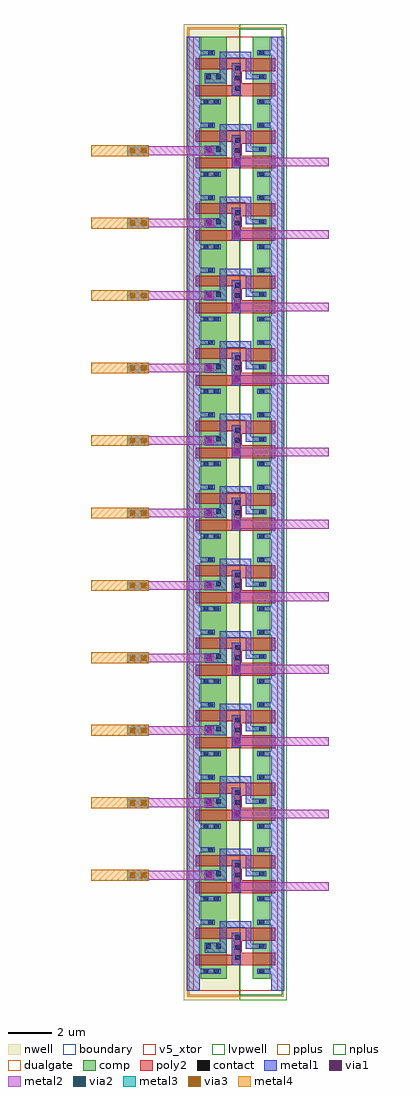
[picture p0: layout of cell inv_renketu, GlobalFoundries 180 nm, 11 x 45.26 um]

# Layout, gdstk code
from math import pi, radians
import gdstk
lib = gdstk.Library(unit=1e-6, precision=1e-09)
def R(c, l, rs):  # rectangles x0, y0, x1, y1
    for r in rs: c.add(gdstk.rectangle(r[:2], r[2:], *l))
def A(c, l, x, y, w, h, nx, ny, dx, dy):  # array of equal rectangles
    R(c, l, [(x+i*dx, y+j*dy, x+i*dx+w, y+j*dy+h) for i in range(nx) for j in range(ny)])
def P(c, l, *ps):  # polygons
    for p in ps: c.add(gdstk.Polygon(p, *l))
boundary = (0, 0)
nwell = (21, 0)
comp = (22, 0)
poly2 = (30, 0)
pplus = (31, 0)
nplus = (32, 0)
contact = (33, 0)
metal1 = (34, 0)
via1 = (35, 0)
metal2 = (36, 0)
via2 = (38, 0)
via3 = (40, 0)
metal3 = (42, 0)
metal4 = (46, 0)
dualgate = (55, 0)
v5_xtor = (112, 1)
lvpwell = (204, 0)

inv_1 = lib.new_cell('inv$1')
R(inv_1, boundary, [(0,0,3.36,3.92)])
R(inv_1, nwell, [(-0.43,1.76,3.79,4.35)])
R(inv_1, comp, [(0,0.34,3.36,1.16), (0,2.36,3.36,3.58)])
P(inv_1, poly2, [(0.62,0.12),(0.62,3.8),(1.12,3.8),(1.12,2.035),(1.87,2.035),(1.87,3.8),(2.37,3.8),(2.37,0.12),(1.77,0.12),(1.77,1.675),(1.22,1.675),(1.22,0.12)])
R(inv_1, pplus, [(-0.2,1.76,3.56,4.12)])
R(inv_1, nplus, [(-0.2,-0.2,3.56,1.76)])
A(inv_1, contact, 0.875, 1.745, 0.22, 0.22, 3, 1, 0.47, 0)
R(inv_1, contact, [(0.25,0.63,0.47,0.85), (1.4,0.63,1.62,0.85), (2.52,0.63,2.74,0.85), (1.4,2.63,1.62,2.85), (0.25,2.74,0.47,2.96), (2.52,3.01,2.74,3.23), (1.4,3.1,1.62,3.32), (0.25,3.21,0.47,3.43)])
R(inv_1, metal1, [(0.63,1.705,2.15,2.12)])
P(inv_1, metal1, [(1.395,0.53),(1.395,1.475),(2.38,1.475),(2.38,2.36),(1.22,2.36),(1.22,3.39),(1.67,3.39),(1.67,2.68),(2.68,2.68),(2.68,1.22),(1.625,1.22),(1.625,0.53)],
  [(0,-0.3),(0,0.3),(0.245,0.3),(0.245,0.95),(0.475,0.95),(0.475,0.3),(2.515,0.3),(2.515,0.95),(2.745,0.95),(2.745,0.3),(3.36,0.3),(3.36,-0.3)],
  [(0.245,2.64),(0.245,3.62),(0,3.62),(0,4.22),(3.36,4.22),(3.36,3.62),(2.745,3.62),(2.745,2.93),(2.515,2.93),(2.515,3.62),(0.475,3.62),(0.475,2.64)])
R(inv_1, dualgate, [(-0.28,-0.28,3.64,4.2)])
R(inv_1, v5_xtor, [(0,0,3.36,3.92)])
R(inv_1, lvpwell, [(-0.43,-0.43,3.79,1.76)])
inv_1.add(gdstk.Label('VSS', (1.68,-0.025), layer=34, texttype=10))
inv_1.add(gdstk.Label('ZN', (1.96,2.52), layer=34, texttype=10))
inv_1.add(gdstk.Label('I', (1.4,1.96), layer=34, texttype=10))
inv_1.add(gdstk.Label('VDD', (1.68,3.93), layer=34, texttype=10))
inv_1.add(gdstk.Label('& Vendor GLOBALFOUNDRIES', (0,2), layer=63, texttype=63))
inv_1.add(gdstk.Label('& Product GF018hv5v_mcu_sc7', (0,1.5), layer=63, texttype=63))
inv_1.add(gdstk.Label('& Version 2015q2v1', (0,1), layer=63, texttype=63))
inv_1.add(gdstk.Label('& Metric 1.00', (0,0.5), layer=63, texttype=63))
inv_1.add(gdstk.Label('VNW', (0.345,3.92), layer=21, texttype=10))
inv_1.add(gdstk.Label('VPW', (0.34,-0.085), layer=204, texttype=10))

dummy = lib.new_cell('dummy')
R(dummy, boundary, [(0.745,-0.105,4.655,3.815)])
R(dummy, nwell, [(0.315,1.655,5.255,4.245)])
R(dummy, comp, [(1.295,0.235,4.655,1.055), (1.295,2.255,4.655,3.475)])
P(dummy, poly2, [(1.915,0.015),(1.915,3.695),(2.415,3.695),(2.415,1.93),(3.165,1.93),(3.165,3.695),(3.665,3.695),(3.665,0.015),(3.065,0.015),(3.065,1.57),(2.515,1.57),(2.515,0.015)])
R(dummy, pplus, [(0.545,1.655,5.025,4.015)])
R(dummy, nplus, [(0.545,-0.305,5.025,1.655)])
A(dummy, contact, 2.17, 1.64, 0.22, 0.22, 3, 1, 0.47, 0)
R(dummy, contact, [(1.545,0.525,1.765,0.745), (2.695,0.525,2.915,0.745), (3.815,0.525,4.035,0.745), (2.695,2.525,2.915,2.745), (1.545,2.635,1.765,2.855), (3.815,2.905,4.035,3.125), (2.695,2.995,2.915,3.215), (1.545,3.105,1.765,3.325)])
R(dummy, metal1, [(1.925,1.6,3.445,2.015)])
P(dummy, metal1, [(1.54,2.535),(1.54,3.515),(0.745,3.515),(0.745,4.115),(4.655,4.115),(4.655,3.515),(4.04,3.515),(4.04,2.825),(3.81,2.825),(3.81,3.515),(1.77,3.515),(1.77,2.535)],
  [(0.745,-0.405),(0.745,0.195),(1.54,0.195),(1.54,0.845),(1.77,0.845),(1.77,0.195),(3.81,0.195),(3.81,0.845),(4.04,0.845),(4.04,0.195),(4.655,0.195),(4.655,-0.405)],
  [(2.69,0.425),(2.69,1.37),(3.675,1.37),(3.675,2.255),(2.515,2.255),(2.515,3.285),(2.965,3.285),(2.965,2.575),(3.975,2.575),(3.975,1.115),(2.92,1.115),(2.92,0.425)])
R(dummy, dualgate, [(0.465,-0.385,5.105,4.095)])
R(dummy, v5_xtor, [(0.745,-0.105,4.655,3.815)])
R(dummy, lvpwell, [(0.315,-0.535,5.255,1.655)])
dummy.add(gdstk.Label('VSS', (2.975,-0.13), layer=34, texttype=10))
dummy.add(gdstk.Label('ZN', (3.255,2.415), layer=34, texttype=10))
dummy.add(gdstk.Label('I', (2.695,1.855), layer=34, texttype=10))
dummy.add(gdstk.Label('VDD', (2.975,3.825), layer=34, texttype=10))
dummy.add(gdstk.Label('& Vendor GLOBALFOUNDRIES', (0,2), layer=63, texttype=63))
dummy.add(gdstk.Label('& Product GF018hv5v_mcu_sc7', (0,1.5), layer=63, texttype=63))
dummy.add(gdstk.Label('& Version 2015q2v1', (0,1), layer=63, texttype=63))
dummy.add(gdstk.Label('& Metric 1.00', (0,0.5), layer=63, texttype=63))
dummy.add(gdstk.Label('VNW', (1.64,3.815), layer=21, texttype=10))
dummy.add(gdstk.Label('VPW', (1.635,-0.19), layer=204, texttype=10))

inv_renketu = lib.new_cell('inv_renketu')
R(inv_renketu, comp, [(-0.44,-14.94,0.78,17.93), (1.98,-14.94,2.8,17.93)])
A(inv_renketu, metal1, -0.23, -17.235, 0.4, 0.4, 1, 11, 0, 3.36)
R(inv_renketu, metal1, [(1.025,15.84,1.425,16.24)])
A(inv_renketu, via1, 1.095, -17.69, 0.26, 0.26, 1, 11, 0, 3.36)
A(inv_renketu, via1, -0.16, -17.165, 0.26, 0.26, 1, 11, 0, 3.36)
A(inv_renketu, metal2, 1.025, -17.76, 4.475, 0.4, 1, 11, 0, 3.36)
A(inv_renketu, metal2, -3.83, -17.285, 0.5, 0.5, 1, 11, 0, 3.36)
A(inv_renketu, metal2, -3.33, -17.285, 0.5, 0.5, 1, 11, 0, 3.36)
A(inv_renketu, metal2, -3.83, -17.235, 4, 0.4, 1, 11, 0, 3.36)
A(inv_renketu, via2, -3.72, -17.165, 0.26, 0.26, 1, 11, 0, 3.36)
A(inv_renketu, via2, -3.2, -17.165, 0.26, 0.26, 1, 11, 0, 3.36)
A(inv_renketu, via3, -3.72, -17.165, 0.26, 0.26, 1, 11, 0, 3.36)
A(inv_renketu, via3, -3.2, -17.165, 0.26, 0.26, 1, 11, 0, 3.36)
A(inv_renketu, metal3, -3.83, -17.285, 0.5, 0.5, 1, 11, 0, 3.36)
A(inv_renketu, metal3, -3.33, -17.285, 0.5, 0.5, 1, 11, 0, 3.36)
A(inv_renketu, metal4, -5.5, -17.285, 2.67, 0.5, 1, 11, 0, 3.36)
A(inv_renketu, metal4, -3.83, -17.285, 0.5, 0.5, 1, 11, 0, 3.36)
A(inv_renketu, metal4, -3.33, -17.285, 0.5, 0.5, 1, 11, 0, 3.36)
inv_renketu.add(gdstk.Reference(inv_1, (3.14,-15.12), rotation=pi/2))
inv_renketu.add(gdstk.Reference(inv_1, (3.14,-11.76), rotation=pi/2))
inv_renketu.add(gdstk.Reference(inv_1, (3.14,-8.4), rotation=pi/2))
inv_renketu.add(gdstk.Reference(inv_1, (3.14,-5.04), rotation=pi/2))
inv_renketu.add(gdstk.Reference(inv_1, (3.14,-1.68), rotation=pi/2))
inv_renketu.add(gdstk.Reference(inv_1, (3.14,1.68), rotation=pi/2))
inv_renketu.add(gdstk.Reference(inv_1, (3.14,5.04), rotation=pi/2))
inv_renketu.add(gdstk.Reference(inv_1, (3.14,11.76), rotation=pi/2))
inv_renketu.add(gdstk.Reference(inv_1, (3.14,-18.48), rotation=pi/2))
inv_renketu.add(gdstk.Reference(inv_1, (3.14,8.4), rotation=pi/2))
inv_renketu.add(gdstk.Reference(inv_1, (3.14,15.12), rotation=pi/2))
inv_renketu.add(gdstk.Reference(dummy, (3.035,-23.135), rotation=pi/2))
inv_renketu.add(gdstk.Reference(dummy, (3.035,17.185), rotation=pi/2))

lib.write_gds('inv_renketu.gds')
